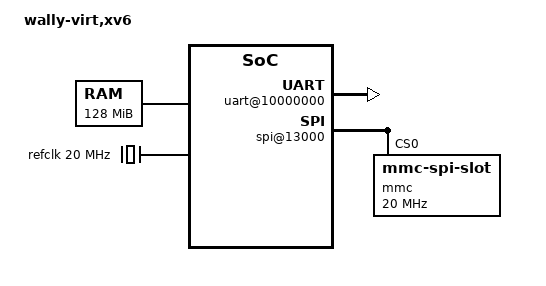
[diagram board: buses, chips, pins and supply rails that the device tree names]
/dts-v1/;

/ {
    #address-cells = <0x02>;
    #size-cells = <0x02>;
    compatible = "wally-virt";
    model = "wally-virt,xv6";

    chosen {
        bootargs = "console=ttyS0,115200";
        stdout-path = "/soc/uart@10000000";
    };

    memory@80000000 {
        device_type = "memory";
        reg = <0x00 0x80000000 0x00 0x8000000>; // 128MB
    };

    cpus {
        #address-cells = <0x01>;
        #size-cells = <0x00>;
        timebase-frequency = <20000000>;    // 20MHz clock
        cpu@0 {
            phandle = <0x01>;
            device_type = "cpu";
            reg = <0x00>;
            status = "okay";
            compatible = "riscv";
            riscv,isa = "rv64imafdcsu";
            mmu-type = "riscv,sv48";

            cpu_intc0: interrupt-controller {
                #interrupt-cells = <0x01>;
                #address-cells = <0x00>;
                interrupt-controller;
                compatible = "riscv,cpu-intc";
                phandle = <0x02>;
            };
        };
    };

    soc {
        #address-cells = <0x02>;
        #size-cells = <0x02>;
        compatible = "simple-bus";
        ranges;

        uart@10000000 {
            interrupts = <0x0a>;
            interrupt-parent = <0x03>;
            clock-frequency = <20000000>;
            reg = <0x00 0x10000000 0x00 0x100>;
            compatible = "ns16550a";
        };

        plic@c000000 {
            phandle = <0x03>;
            riscv,ndev = <0x35>;
            reg = <0x00 0xc000000 0x00 0x210000>;
            interrupts-extended = <&cpu_intc0 0x0b &cpu_intc0 0x09>;
            interrupt-controller;
            compatible = "sifive,plic-1.0.0", "riscv,plic0";
            #interrupt-cells = <0x01>;
            #address-cells = <0x00>;
        };

        clint@2000000 {
            interrupts-extended = <&cpu_intc0 0x03 &cpu_intc0 0x07>;
            reg = <0x00 0x2000000 0x00 0x10000>;
            compatible = "sifive,clint0", "riscv,clint0";
        };

        spi@13000 {
            compatible = "sifive,spi0";
            reg = <0x0 0x13000 0x0 0x1000>;
            interrupt-parent = <0x03>;
            interrupts = <0x14>;
            clocks = <&refclk>;
            #address-cells = <1>;
            #size-cells = <0>;

            mmc@0 {
                compatible = "mmc-spi-slot";
                reg = <0>;
                spi-max-frequency = <20000000>;
                voltage-ranges = <3300 3300>;
                disable-wp;
            };
        };

        refclk: refclk {
            #clock-cells = <0>;
            compatible = "fixed-clock";
            clock-frequency = <20000000>;
            clock-output-names = "xtal";
            reg = <0x0 0x0 0x0 0x0>;
        };
    };
};
